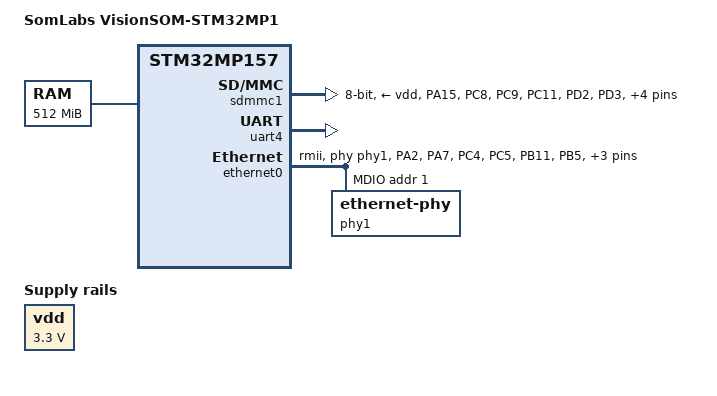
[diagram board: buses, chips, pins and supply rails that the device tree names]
// SPDX-License-Identifier: (GPL-2.0+ OR BSD-3-Clause)
/*
 * Copyright (C) STMicroelectronics 2019 - All Rights Reserved
 * Author: Alexandre Torgue <alexandre.torgue@st.com> for STMicroelectronics.
 */

/dts-v1/;

#include "stm32mp157c.dtsi"
#include "stm32mp157xab-pinctrl.dtsi"
#include <dt-bindings/gpio/gpio.h>
#include <dt-bindings/mfd/st,stpmic1.h>

/ {
	model = "SomLabs VisionSOM-STM32MP1";
	compatible = "st,stm32mp157";

	aliases {
		ethernet0 = &ethernet0;
		serial0 = &uart4;
	};

	chosen {
		stdout-path = "serial0:115200n8";
	};

	memory@c0000000 {
		device_type = "memory";
		reg = <0xc0000000 0x20000000>;
	};

    vdd: regulator_vdd {
		compatible = "regulator-fixed";
		regulator-name = "vdd";
		regulator-min-microvolt = <3300000>;
		regulator-max-microvolt = <3300000>;
		regulator-always-on;
	};
};

&pinctrl {
	sdmmc1_pins_mx: sdmmc1_mx-0 {
		pins1 {
			pinmux = <STM32_PINMUX('A', 15, AF11)>, /* SDMMC1_D5 */
					 <STM32_PINMUX('C', 8, AF12)>, /* SDMMC1_D0 */
					 <STM32_PINMUX('C', 9, AF12)>, /* SDMMC1_D1 */
					 <STM32_PINMUX('C', 11, AF12)>, /* SDMMC1_D3 */
					 <STM32_PINMUX('D', 2, AF12)>, /* SDMMC1_CMD */
					 <STM32_PINMUX('D', 3, AF11)>, /* SDMMC1_D7 */
					 <STM32_PINMUX('E', 4, AF11)>, /* SDMMC1_D4 */
					 <STM32_PINMUX('E', 5, AF11)>, /* SDMMC1_D6 */
					 <STM32_PINMUX('E', 6, AF8)>; /* SDMMC1_D2 */
			bias-disable;
			drive-push-pull;
			slew-rate = <1>;
		};
		pins2 {
			pinmux = <STM32_PINMUX('C', 12, AF12)>; /* SDMMC1_CK */
			bias-disable;
			drive-push-pull;
			slew-rate = <3>;
		};
	};

	sdmmc1_opendrain_pins_mx: sdmmc1_opendrain_mx-0 {
		pins1 {
			pinmux = <STM32_PINMUX('A', 15, AF11)>, /* SDMMC1_D5 */
					 <STM32_PINMUX('C', 8, AF12)>, /* SDMMC1_D0 */
					 <STM32_PINMUX('C', 9, AF12)>, /* SDMMC1_D1 */
					 <STM32_PINMUX('C', 11, AF12)>, /* SDMMC1_D3 */
					 <STM32_PINMUX('D', 3, AF11)>, /* SDMMC1_D7 */
					 <STM32_PINMUX('E', 4, AF11)>, /* SDMMC1_D4 */
					 <STM32_PINMUX('E', 5, AF11)>, /* SDMMC1_D6 */
					 <STM32_PINMUX('E', 6, AF8)>; /* SDMMC1_D2 */
			bias-disable;
			drive-push-pull;
			slew-rate = <1>;
		};
		pins2 {
			pinmux = <STM32_PINMUX('C', 12, AF12)>; /* SDMMC1_CK */
			bias-disable;
			drive-push-pull;
			slew-rate = <3>;
		};
		pins3 {
			pinmux = <STM32_PINMUX('D', 2, AF12)>; /* SDMMC1_CMD */
			bias-disable;
			drive-open-drain;
			slew-rate = <1>;
		};
	};

	sdmmc1_sleep_pins_mx: sdmmc1_sleep_mx-0 {
		pins {
			pinmux = <STM32_PINMUX('A', 15, ANALOG)>, /* SDMMC1_D5 */
					 <STM32_PINMUX('C', 8, ANALOG)>, /* SDMMC1_D0 */
					 <STM32_PINMUX('C', 9, ANALOG)>, /* SDMMC1_D1 */
					 <STM32_PINMUX('C', 11, ANALOG)>, /* SDMMC1_D3 */
					 <STM32_PINMUX('C', 12, ANALOG)>, /* SDMMC1_CK */
					 <STM32_PINMUX('D', 2, ANALOG)>, /* SDMMC1_CMD */
					 <STM32_PINMUX('D', 3, ANALOG)>, /* SDMMC1_D7 */
					 <STM32_PINMUX('E', 4, ANALOG)>, /* SDMMC1_D4 */
					 <STM32_PINMUX('E', 5, ANALOG)>, /* SDMMC1_D6 */
					 <STM32_PINMUX('E', 6, ANALOG)>; /* SDMMC1_D2 */
		};
	};

	eth1_pins_mx: eth1_mx-0 {
		pins1 {
			pinmux = <STM32_PINMUX('A', 2, AF11)>; /* ETH1_MDIO */
			bias-pull-up;
			drive-push-pull;
			slew-rate = <0>;
		};
		pins2 {
			pinmux = <STM32_PINMUX('A', 7, AF11)>, /* ETH1_CRS_DV */
					 <STM32_PINMUX('C', 4, AF11)>, /* ETH1_RXD0 */
					 <STM32_PINMUX('C', 5, AF11)>; /* ETH1_RXD1 */
			bias-disable;
		};
		pins3 {
			pinmux = <STM32_PINMUX('B', 11, AF11)>; /* ETH1_TX_EN */
		};
		pins4 {
			pinmux = <STM32_PINMUX('B', 5, AF0)>, /* ETH1_CLK */
					 <STM32_PINMUX('B', 13, AF11)>, /* ETH1_TXD1 */
					 <STM32_PINMUX('G', 13, AF11)>; /* ETH1_TXD0 */
			bias-disable;
			drive-push-pull;
			slew-rate = <1>;
		};
		pins5 {
			pinmux = <STM32_PINMUX('C', 1, AF11)>; /* ETH1_MDC */
			bias-pull-up;
			drive-push-pull;
			slew-rate = <1>;
		};
	};

	eth1_sleep_pins_mx: eth1_sleep_mx-0 {
		pins {
			pinmux = <STM32_PINMUX('A', 2, ANALOG)>, /* ETH1_MDIO */
					 <STM32_PINMUX('A', 7, ANALOG)>, /* ETH1_CRS_DV */
					 <STM32_PINMUX('B', 5, ANALOG)>, /* ETH1_CLK */
					 <STM32_PINMUX('B', 11, ANALOG)>, /* ETH1_TX_EN */
					 <STM32_PINMUX('B', 13, ANALOG)>, /* ETH1_TXD1 */
					 <STM32_PINMUX('C', 1, ANALOG)>, /* ETH1_MDC */
					 <STM32_PINMUX('C', 4, ANALOG)>, /* ETH1_RXD0 */
					 <STM32_PINMUX('C', 5, ANALOG)>, /* ETH1_RXD1 */
					 <STM32_PINMUX('G', 13, ANALOG)>; /* ETH1_TXD0 */
		};
	};

};

&pwr_regulators {
	vdd-supply = <&vdd>;
};

&sdmmc1 {
	pinctrl-names = "default", "opendrain", "sleep";
	pinctrl-0 = <&sdmmc1_pins_mx>;
	pinctrl-1 = <&sdmmc1_opendrain_pins_mx>;
	pinctrl-2 = <&sdmmc1_sleep_pins_mx>;
	broken-cd;
	st,neg-edge;
	bus-width = <8>;
	vmmc-supply = <&vdd>;
	status = "okay";
};

&uart4 {
	pinctrl-names = "default";
	pinctrl-0 = <&uart4_pins_a>;
	status = "okay";
};

&ethernet0 {
	pinctrl-names = "default", "sleep";
	pinctrl-0 = <&eth1_pins_mx>;
	pinctrl-1 = <&eth1_sleep_pins_mx>;
	phy-mode = "rmii";
	max-speed = <100>;
	phy-handle = <&phy1>;
	st,eth_ref_clk_sel = <1>;
	status = "okay";

	mdio0 {
		#address-cells = <1>;
		#size-cells = <0>;
		compatible = "snps,dwmac-mdio";
		phy1: ethernet-phy@1 {
			reg = <1>;
			clocks = <&rcc ETHCK_K>;
			clock-names = "rmii-ref";
		};
	};
};
